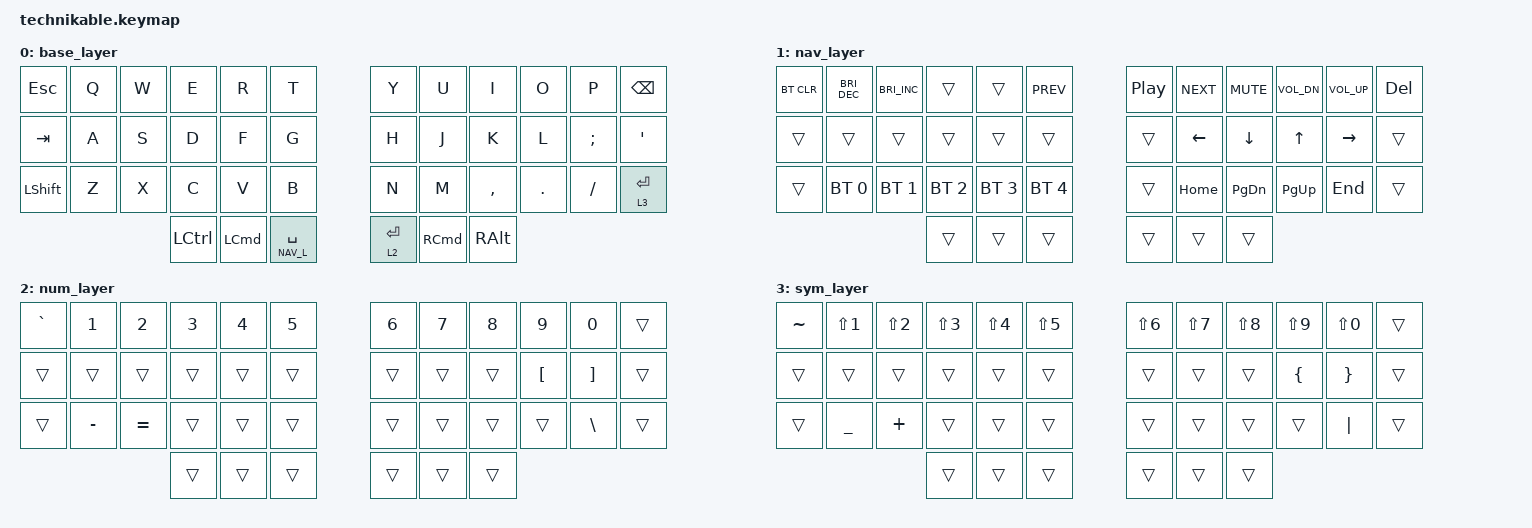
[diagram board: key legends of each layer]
/*
 * Copyright (c) 2022 Pete Johanson
 *
 * SPDX-License-Identifier: MIT
 */

#include <behaviors.dtsi>
#include <dt-bindings/zmk/bt.h>
#include <dt-bindings/zmk/keys.h>

#define BAS_L 0
#define NAV_L 1
#define NUM_L 2
#define SYM_L 3

// Using layer taps on thumbs, having quick tap as well helps w/ repeating space/backspace

&lt { quick_tap_ms = <200>; };

/ {
    chosen { zmk,matrix_transform = &dual_2u_transform; };

    conditional_layers {
        compatible = "zmk,conditional-layers";

        tri_layer {
            if-layers = <NAV_L NUM_L>;
            then-layer = <SYM_L>;
        };
    };

    keymap {
        compatible = "zmk,keymap";

        base_layer {
            bindings = <
&kp ESC    &kp Q  &kp W      &kp E             &kp R            &kp T               &kp Y  &kp U              &kp I          &kp O    &kp P     &kp BACKSPACE
&kp TAB    &kp A  &kp S      &kp D             &kp F            &kp G               &kp H  &kp J              &kp K          &kp L    &kp SEMI  &kp SINGLE_QUOTE
&kp LSHFT  &kp Z  &kp X      &kp C             &kp V            &kp B               &kp N  &kp M              &kp COMMA      &kp DOT  &kp FSLH  &lt 3 ENTER
                  &kp LCTRL  &kp LEFT_COMMAND  &lt NAV_L SPACE         &lt 2 ENTER         &kp RIGHT_COMMAND  &kp RIGHT_ALT
            >;
        };

        nav_layer {
            bindings = <
&bt BT_CLR  &kp C_BRIGHTNESS_DEC  &kp C_BRIGHTNESS_INC  &trans        &trans        &kp C_PREV            &kp C_PLAY_PAUSE  &kp C_NEXT  &kp C_MUTE  &kp C_VOL_DN  &kp C_VOL_UP  &kp DEL
&trans      &trans                &trans                &trans        &trans        &trans                &trans            &kp LEFT    &kp DOWN    &kp UP_ARROW  &kp RIGHT     &trans
&trans      &bt BT_SEL 0          &bt BT_SEL 1          &bt BT_SEL 2  &bt BT_SEL 3  &bt BT_SEL 4          &trans            &kp HOME    &kp PG_DN   &kp PG_UP     &kp END       &trans
                                  &trans                &trans        &trans                      &trans                    &trans      &trans
            >;
        };

        num_layer {
            bindings = <
&kp GRAVE  &kp NUMBER_1  &kp NUMBER_2  &kp NUMBER_3  &kp NUMBER_4  &kp N5          &kp NUMBER_6  &kp N7  &kp N8  &kp N9            &kp N0             &trans
&trans     &trans        &trans        &trans        &trans        &trans          &trans        &trans  &trans  &kp LEFT_BRACKET  &kp RIGHT_BRACKET  &trans
&trans     &kp MINUS     &kp EQUAL     &trans        &trans        &trans          &trans        &trans  &trans  &trans            &kp BACKSLASH      &trans
                         &trans        &trans        &trans                &trans                &trans  &trans
            >;
        };

        sym_layer {
            bindings = <
&kp TILDE  &kp LS(NUMBER_1)  &kp LS(NUMBER_2)  &kp LS(NUMBER_3)  &kp LS(NUMBER_4)  &kp LS(N5)          &kp LS(NUMBER_6)  &kp LS(N7)  &kp LS(N8)  &kp LS(N9)      &kp LS(N0)       &trans
&trans     &trans            &trans            &trans            &trans            &trans              &trans            &trans      &trans      &kp LEFT_BRACE  &kp RIGHT_BRACE  &trans
&trans     &kp UNDER         &kp PLUS          &trans            &trans            &trans              &trans            &trans      &trans      &trans          &kp PIPE         &trans
                             &trans            &trans            &trans                        &trans                    &trans      &trans
            >;
        };
    };
};
